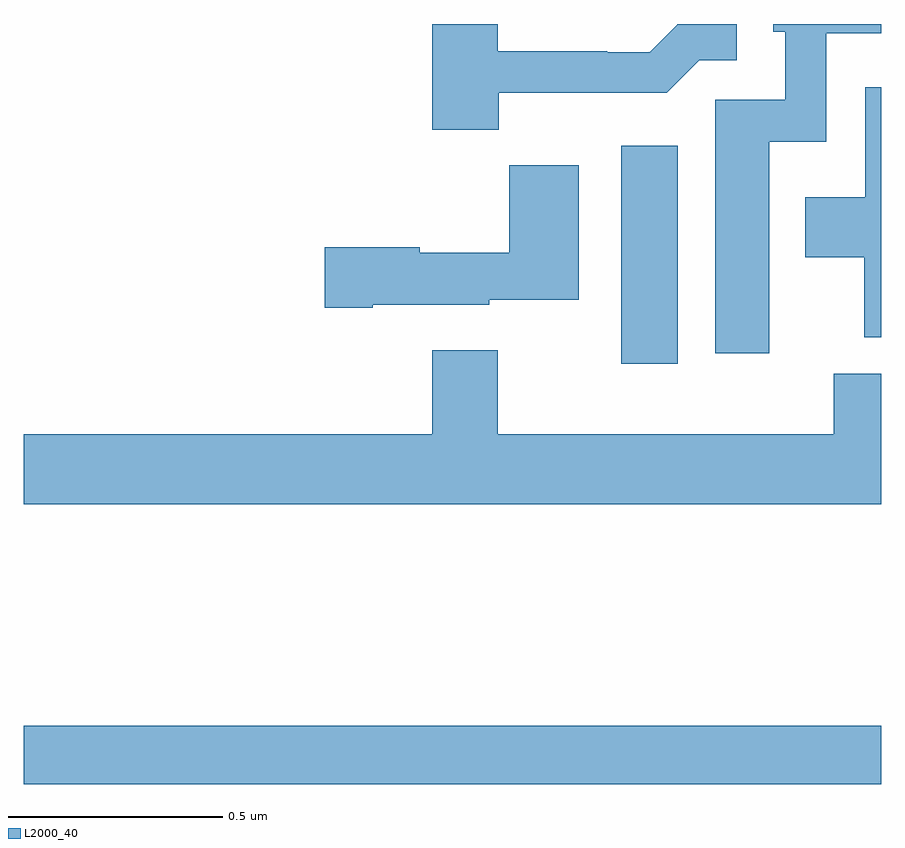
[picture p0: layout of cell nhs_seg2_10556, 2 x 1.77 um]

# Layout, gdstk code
import gdstk
lib = gdstk.Library(unit=1e-6, precision=1e-09)
def R(c, l, rs):  # rectangles x0, y0, x1, y1
    for r in rs: c.add(gdstk.rectangle(r[:2], r[2:], *l))
def P(c, l, *ps):  # polygons
    for p in ps: c.add(gdstk.Polygon(p, *l))
L2000_40 = (2000, 40)

nhs_seg2_10556 = lib.new_cell('nhs_seg2_10556')
R(nhs_seg2_10556, L2000_40, [(243,603.028,245,603.164), (244.394,604.008,244.525,604.516)])
P(nhs_seg2_10556, L2000_40, [(244.738,604.526),(244.872,604.526),(244.872,604.778),(245,604.778),(245,604.8),(244.748,604.8),(244.748,604.782),(244.776,604.782),(244.776,604.623),(244.613,604.623),(244.613,604.032),(244.738,604.032)],
  [(244.108,604.64),(244.499,604.64),(244.575,604.716),(244.663,604.716),(244.663,604.8),(244.524,604.8),(244.524,604.798),(244.46,604.734),(244.361,604.734),(244.361,604.737),(244.105,604.737),(244.105,604.8),(243.953,604.8),(243.953,604.553),(244.108,604.553)],
  [(245,604.653),(244.962,604.653),(244.962,604.396),(244.823,604.396),(244.823,604.256),(244.96,604.256),(244.96,604.07),(245,604.07)],
  [(243.814,604.145),(244.086,604.145),(244.086,604.157),(244.294,604.157),(244.294,604.471),(244.132,604.471),(244.132,604.267),(243.924,604.267),(243.924,604.28),(243.702,604.28),(243.702,604.138),(243.814,604.138)],
  [(245,603.985),(244.889,603.985),(244.889,603.844),(244.105,603.844),(244.105,604.039),(243.953,604.039),(243.953,603.844),(243,603.844),(243,603.68),(245,603.68)])

lib.write_gds('nhs_seg2_10556.gds')
